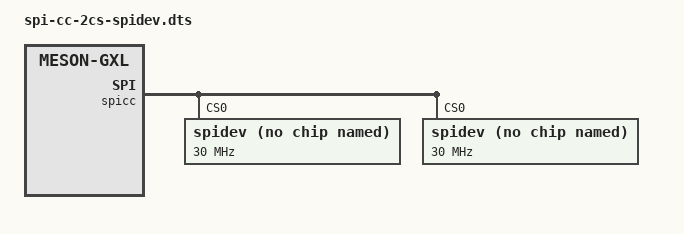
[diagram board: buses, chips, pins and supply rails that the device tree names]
// SPDX-License-Identifier: (GPL-2.0+ OR MIT)
/*
 * Copyright (c) 2024 Da Xue
 * Author: Da Xue <da@libre.computer>
 */

/*
 * Enables SPICC userspace spidev for spi-cc-2cs
 */

/dts-v1/;
/plugin/;

/ {
	compatible = "libretech,aml-s805x-ac", "amlogic,s805x", "amlogic,meson-gxl";

	fragment@0 {
		target = <&spicc>;

		__overlay__ {
			spidev@0 {
				compatible = "rohm,dh2228fv";
				reg = <0>;
				spi-max-frequency = <30000000>;
			};
			spidev@1 {
				compatible = "rohm,dh2228fv";
				reg = <0>;
				spi-max-frequency = <30000000>;
			};
		};
	};
};
